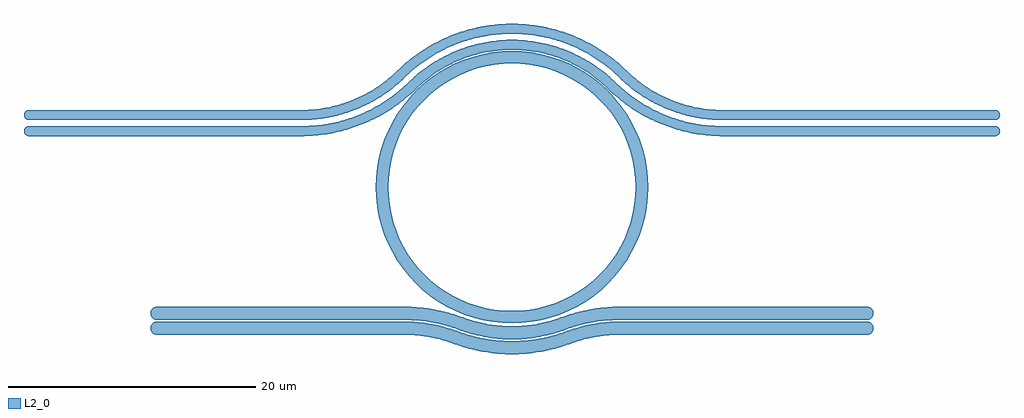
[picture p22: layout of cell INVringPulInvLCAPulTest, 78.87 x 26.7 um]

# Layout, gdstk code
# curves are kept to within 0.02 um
import gdstk
lib = gdstk.Library(unit=1e-6, precision=1e-09)
def P(c, l, *ps):  # polygons
    for p in ps: c.add(gdstk.Polygon(p, *l))
L2_0 = (2, 0)

invringpulinvlcapultest = lib.new_cell('INVringPulInvLCAPulTest')
P(invringpulinvlcapultest, L2_0, [(10,-31),(9.215,-30.972),(8.435,-30.888),(7.662,-30.749),(6.901,-30.554),(6.156,-30.306),(5.43,-30.006),(4.728,-29.654),(4.053,-29.254),(3.408,-28.806),(2.797,-28.313),(2.222,-27.778),(1.687,-27.203),(1.194,-26.592),(0.746,-25.947),(0.346,-25.272),(-0.006,-24.57),(-0.306,-23.844),(-0.554,-23.099),(-0.749,-22.338),(-0.888,-21.565),(-0.972,-20.785),(-1,-20),(-0.972,-19.215),(-0.888,-18.435),(-0.749,-17.662),(-0.554,-16.901),(-0.306,-16.156),(-0.006,-15.43),(0.346,-14.728),(0.746,-14.053),(1.194,-13.408),(1.687,-12.797),(2.222,-12.222),(2.797,-11.687),(3.408,-11.194),(4.053,-10.746),(4.728,-10.346),(5.43,-9.994),(6.156,-9.694),(6.901,-9.446),(7.662,-9.251),(8.435,-9.112),(9.215,-9.028),(10,-9),(10.785,-9.028),(11.565,-9.112),(12.338,-9.251),(13.099,-9.446),(13.844,-9.694),(14.57,-9.994),(15.272,-10.346),(15.947,-10.746),(16.592,-11.194),(17.203,-11.687),(17.778,-12.222),(18.313,-12.797),(18.806,-13.408),(19.254,-14.053),(19.654,-14.728),(20.006,-15.43),(20.306,-16.156),(20.554,-16.901),(20.749,-17.662),(20.888,-18.435),(20.972,-19.215),(21,-20),(20,-20),(19.975,-19.287),(19.898,-18.577),(19.771,-17.874),(19.595,-17.183),(19.369,-16.505),(19.096,-15.846),(18.777,-15.208),(18.413,-14.594),(18.005,-14.007),(17.557,-13.451),(17.071,-12.929),(16.549,-12.443),(15.993,-11.995),(15.406,-11.587),(14.792,-11.223),(14.154,-10.904),(13.495,-10.631),(12.817,-10.405),(12.126,-10.229),(11.423,-10.102),(10.713,-10.025),(10,-10),(9.287,-10.025),(8.577,-10.102),(7.874,-10.229),(7.183,-10.405),(6.505,-10.631),(5.846,-10.904),(5.208,-11.223),(4.594,-11.587),(4.007,-11.995),(3.451,-12.443),(2.929,-12.929),(2.443,-13.451),(1.995,-14.007),(1.587,-14.594),(1.223,-15.208),(0.904,-15.846),(0.631,-16.505),(0.405,-17.183),(0.229,-17.874),(0.102,-18.577),(0.025,-19.287),(0,-20),(0.025,-20.713),(0.102,-21.423),(0.229,-22.126),(0.405,-22.817),(0.631,-23.495),(0.904,-24.154),(1.223,-24.792),(1.587,-25.406),(1.995,-25.993),(2.443,-26.549),(2.929,-27.071),(3.451,-27.557),(4.007,-28.005),(4.594,-28.413),(5.208,-28.777),(5.846,-29.096),(6.505,-29.369),(7.183,-29.595),(7.874,-29.771),(8.577,-29.898),(9.287,-29.975),(10,-30),(10.713,-29.975),(11.423,-29.898),(12.126,-29.771),(12.817,-29.595),(13.495,-29.369),(14.154,-29.096),(14.792,-28.777),(15.406,-28.413),(15.993,-28.005),(16.549,-27.557),(17.071,-27.071),(17.557,-26.549),(18.005,-25.993),(18.413,-25.406),(18.777,-24.792),(19.096,-24.154),(19.369,-23.495),(19.595,-22.817),(19.771,-22.126),(19.898,-21.423),(19.975,-20.713),(20,-20),(21,-20),(20.972,-20.785),(20.888,-21.565),(20.749,-22.338),(20.554,-23.099),(20.306,-23.844),(20.006,-24.57),(19.654,-25.272),(19.254,-25.947),(18.806,-26.592),(18.313,-27.203),(17.778,-27.778),(17.203,-28.313),(16.592,-28.806),(15.947,-29.254),(15.272,-29.654),(14.57,-30.006),(13.844,-30.306),(13.099,-30.554),(12.338,-30.749),(11.565,-30.888),(10.785,-30.972)],
  [(-29.037,-15.873),(-29.037,-15.073),(-6.818,-15.071),(-5.726,-15.003),(-4.644,-14.84),(-3.58,-14.581),(-2.748,-14.308),(-1.739,-13.884),(-0.771,-13.373),(-0.032,-12.904),(0.673,-12.384),(1.176,-11.963),(2.276,-10.947),(3.105,-10.301),(3.987,-9.731),(4.916,-9.241),(6.082,-8.763),(7.292,-8.412),(8.533,-8.191),(9.79,-8.102),(11.049,-8.146),(11.883,-8.25),(12.503,-8.366),(13.719,-8.696),(14.894,-9.153),(15.831,-9.626),(16.895,-10.301),(17.724,-10.947),(18.824,-11.963),(19.327,-12.384),(20.032,-12.904),(20.771,-13.373),(21.739,-13.884),(22.748,-14.308),(23.791,-14.64),(24.859,-14.88),(25.944,-15.025),(27.037,-15.073),(49.037,-15.073),(49.037,-15.873),(27.037,-15.873),(26.105,-15.84),(24.948,-15.706),(23.807,-15.472),(22.691,-15.137),(21.609,-14.705),(20.569,-14.18),(19.773,-13.694),(19.013,-13.154),(18.294,-12.562),(17.204,-11.556),(16.432,-10.953),(15.609,-10.421),(14.565,-9.882),(13.469,-9.456),(12.334,-9.148),(11.757,-9.04),(10.979,-8.943),(9.804,-8.902),(8.631,-8.985),(7.474,-9.191),(6.345,-9.519),(5.257,-9.964),(4.391,-10.421),(3.568,-10.953),(2.796,-11.556),(1.706,-12.562),(0.987,-13.154),(0.227,-13.694),(-0.569,-14.18),(-1.609,-14.705),(-2.691,-15.137),(-3.581,-15.413),(-4.718,-15.668),(-5.873,-15.821),(-7.037,-15.873)],
  [(-29.037,-14.573),(-29.037,-13.773),(-7.037,-13.773),(-5.863,-13.711),(-4.894,-13.564),(-3.942,-13.333),(-3.198,-13.088),(-2.295,-12.709),(-1.428,-12.251),(-0.766,-11.832),(-0.135,-11.366),(0.461,-10.858),(1.433,-9.958),(2.351,-9.242),(3.33,-8.609),(4.36,-8.065),(5.654,-7.536),(6.996,-7.146),(8.373,-6.901),(9.767,-6.802),(11.164,-6.851),(12.548,-7.048),(13.903,-7.39),(14.783,-7.697),(15.428,-7.968),(16.468,-8.493),(17.649,-9.242),(18.567,-9.958),(19.539,-10.858),(20.135,-11.366),(20.766,-11.832),(21.428,-12.251),(22.295,-12.709),(23.198,-13.088),(24.131,-13.386),(25.087,-13.6),(26.058,-13.73),(27.037,-13.773),(49.037,-13.773),(49.037,-14.573),(27.037,-14.573),(26.197,-14.543),(25.154,-14.423),(24.125,-14.211),(23.119,-13.909),(22.143,-13.52),(21.206,-13.046),(20.314,-12.492),(19.638,-11.993),(19.155,-11.588),(18.048,-10.567),(17.185,-9.894),(16.266,-9.3),(15.099,-8.697),(13.875,-8.221),(12.608,-7.877),(11.962,-7.756),(11.093,-7.648),(9.781,-7.602),(8.471,-7.695),(7.178,-7.925),(5.917,-8.291),(4.901,-8.697),(3.734,-9.3),(2.815,-9.894),(1.952,-10.567),(0.845,-11.588),(0.362,-11.993),(-0.314,-12.492),(-1.024,-12.942),(-1.953,-13.432),(-2.921,-13.838),(-3.922,-14.158),(-4.947,-14.388),(-5.988,-14.526),(-7.037,-14.573)],
  [(49.037,-15.873),(49.037,-15.073),(49.193,-15.104),(49.32,-15.19),(49.406,-15.317),(49.437,-15.473),(49.406,-15.629),(49.32,-15.756),(49.193,-15.841)],
  [(-29.037,-15.873),(-29.193,-15.841),(-29.32,-15.756),(-29.406,-15.629),(-29.437,-15.473),(-29.406,-15.317),(-29.32,-15.19),(-29.193,-15.104),(-29.037,-15.073)],
  [(49.037,-14.573),(49.037,-13.773),(49.193,-13.804),(49.32,-13.89),(49.406,-14.017),(49.437,-14.173),(49.406,-14.329),(49.32,-14.456),(49.193,-14.541)],
  [(-29.037,-14.573),(-29.193,-14.541),(-29.32,-14.456),(-29.406,-14.329),(-29.437,-14.173),(-29.406,-14.017),(-29.32,-13.89),(-29.193,-13.804),(-29.037,-13.773)],
  [(10,-33.5),(8.791,-33.446),(7.375,-33.242),(6.199,-32.954),(4.652,-32.432),(3.945,-32.237),(3.136,-32.073),(2.134,-31.954),(1.401,-31.924),(-18.691,-31.924),(-18.895,-31.883),(-19.096,-31.733),(-19.192,-31.555),(-19.213,-31.345),(-19.152,-31.149),(-19.025,-30.994),(-18.895,-30.915),(-18.691,-30.874),(1.811,-30.884),(3.009,-30.992),(4.093,-31.193),(5.06,-31.46),(6.592,-31.975),(7.679,-32.232),(8.885,-32.4),(10.102,-32.45),(11.115,-32.4),(12.321,-32.232),(13.408,-31.975),(14.94,-31.46),(15.809,-31.216),(16.892,-31.006),(17.989,-30.894),(38.744,-30.877),(38.941,-30.937),(39.096,-31.065),(39.192,-31.243),(39.216,-31.399),(39.192,-31.555),(39.096,-31.733),(38.941,-31.861),(38.744,-31.921),(18.049,-31.942),(17.045,-32.045),(16.055,-32.237),(15.348,-32.432),(13.801,-32.954),(12.517,-33.263),(11.209,-33.446)],
  [(10,-32.3),(8.898,-32.251),(7.608,-32.065),(6.441,-31.774),(5.009,-31.286),(4.226,-31.07),(3.23,-30.873),(2.121,-30.75),(1.411,-30.724),(-18.691,-30.724),(-18.895,-30.683),(-19.096,-30.533),(-19.192,-30.355),(-19.213,-30.145),(-19.152,-29.949),(-19.025,-29.794),(-18.895,-29.715),(-18.691,-29.674),(1.86,-29.685),(3.175,-29.803),(4.365,-30.024),(5.321,-30.284),(6.833,-30.795),(7.902,-31.053),(8.992,-31.205),(10.092,-31.25),(11.008,-31.205),(12.098,-31.053),(13.167,-30.795),(14.679,-30.284),(15.635,-30.024),(16.825,-29.803),(18.03,-29.69),(38.744,-29.677),(38.941,-29.737),(39.096,-29.865),(39.192,-30.043),(39.216,-30.199),(39.192,-30.355),(39.096,-30.533),(38.941,-30.661),(38.744,-30.721),(17.98,-30.744),(16.97,-30.843),(15.774,-31.07),(14.991,-31.286),(13.559,-31.774),(12.392,-32.065),(11.102,-32.251)])

lib.write_gds('INVringPulInvLCAPulTest.gds')
